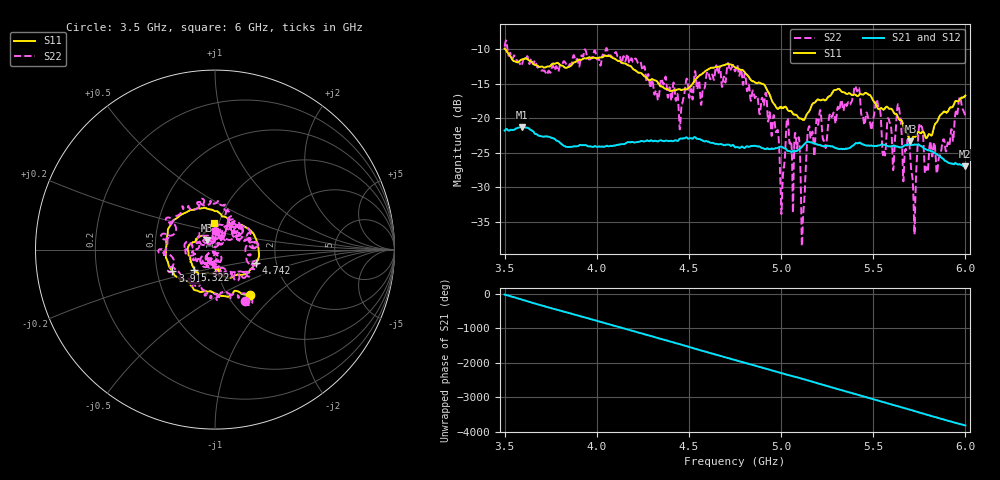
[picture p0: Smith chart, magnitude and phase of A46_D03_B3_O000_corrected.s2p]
! Created with skrf 1.9.0 (http://scikit-rf.org).
# Hz S RI R 50.0
!freq ReS11 ImS11 ReS21 ImS21 ReS12 ImS12 ReS22 ImS22
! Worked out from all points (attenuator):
!   1601 points, 3.5 GHz to 6 GHz, reference 50 ohm
!   highest |S21| = -21.22 dB at 3.592 GHz (marker M1); lowest = -26.9 dB at 5.998 GHz (marker M2)
!   lowest |S11| = -23.3 dB at 5.702 GHz (marker M3), VSWR 1.15, Z = 45.5 + j4.69 ohm
!   |S11| at or under -10 dB: 3.504 GHz to end of sweep
!   |S22| runs from -38.5 to -8.7 dB; largest |S21 - S12| = 0.00094
!   S11 on the Smith chart (normalised r, x): 3.5 GHz: 1.26, -0.71; 3.917 GHz: 0.60, -0.16; 4.742 GHz: 1.57, -0.24; 5.322 GHz: 0.78, -0.18; 6 GHz: 0.95, +0.28
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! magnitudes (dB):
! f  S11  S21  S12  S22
! 3.5 GHz  -9.9  -21.7  -21.7  -9.6
! 3.592 GHz  -11.5  -21.2  -21.2  -12.4
! 3.917 GHz  -11.5  -23.9  -23.9  -10.9
! 4.334 GHz  -14.9  -23.3  -23.3  -17.2
! 4.742 GHz  -12.4  -23.9  -23.9  -12.5
! 4.75 GHz  -12.6  -24.2  -24.1  -13.2
! 4.969 GHz  -18.2  -24.3  -24.3  -21.6
! 5.005 GHz  -18.4  -24.1  -24.1  -31.8
! 5.034 GHz  -18.7  -24.7  -24.6  -19.9
! 5.088 GHz  -19.6  -24.7  -24.6  -24.2
! 5.119 GHz  -20.2  -23.9  -23.9  -34.5
! 5.145 GHz  -19.2  -23.4  -23.3  -21.8
! 5.167 GHz  -18.0  -23.5  -23.5  -22.1
! 5.322 GHz  -15.9  -24.4  -24.4  -17.9
! 5.559 GHz  -18.7  -23.8  -23.8  -24.7
! 5.584 GHz  -18.6  -24.0  -24.0  -20.1
! 5.702 GHz  -23.3  -23.8  -23.8  -25.8
! 5.72 GHz  -22.6  -23.8  -23.8  -33.4
! 5.756 GHz  -22.2  -24.0  -23.9  -21.1
! 5.789 GHz  -22.9  -24.5  -24.5  -27.1
! 5.998 GHz  -16.8  -26.9  -26.9  -19.6
! 6 GHz  -16.7  -26.9  -26.9  -19.7
